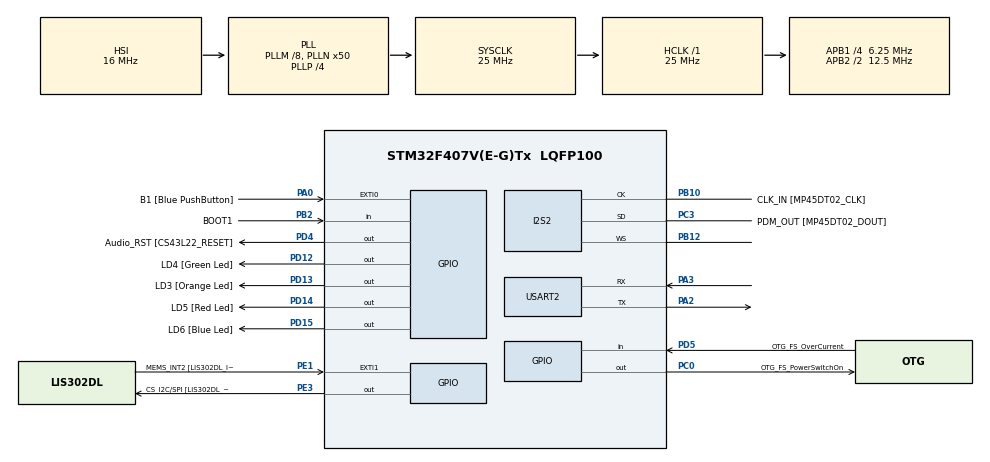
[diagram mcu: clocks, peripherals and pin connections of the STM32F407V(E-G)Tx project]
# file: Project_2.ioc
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I2S2.AudioFreq=I2S_AUDIOFREQ_192K
I2S2.ErrorAudioFreq=0.8 %
I2S2.Mode=I2S_MODE_MASTER_RX
I2S2.RealAudioFreq=193.548 KHz
Mcu.Family=STM32F4
Mcu.Name=STM32F407V(E-G)Tx
Mcu.Package=LQFP100
NVIC.PriorityGroup=NVIC_PRIORITYGROUP_0
PA0-WKUP.GPIO_Label=B1 [Blue PushButton]
PA0-WKUP.Signal=GPXTI0
PA10.GPIO_Label=OTG_FS_ID
PA10.GPIO_Mode=GPIO_MODE_AF_PP
PA10.GPIO_PuPd=GPIO_NOPULL
PA10.GPIO_Speed=GPIO_SPEED_FREQ_LOW
PA10.Signal=USB_OTG_FS_ID
PA11.GPIO_Label=OTG_FS_DM
PA11.GPIO_Mode=GPIO_MODE_AF_PP
PA11.GPIO_PuPd=GPIO_NOPULL
PA11.GPIO_Speed=GPIO_SPEED_FREQ_LOW
PA11.Signal=USB_OTG_FS_DM
PA12.GPIO_Label=OTG_FS_DP
PA12.GPIO_Mode=GPIO_MODE_AF_PP
PA12.GPIO_PuPd=GPIO_NOPULL
PA12.GPIO_Speed=GPIO_SPEED_FREQ_LOW
PA12.Signal=USB_OTG_FS_DP
PA13.GPIO_Label=SWDIO
PA13.Signal=SYS_JTMS-SWDIO
PA14.GPIO_Label=SWCLK
PA14.Signal=SYS_JTCK-SWCLK
PA2.Mode=Asynchronous
PA2.Signal=USART2_TX
PA3.Mode=Asynchronous
PA3.Signal=USART2_RX
PA4.GPIO_Label=I2S3_WS [CS43L22_LRCK]
PA4.GPIO_Mode=GPIO_MODE_AF_PP
PA4.GPIO_PuPd=GPIO_NOPULL
PA4.GPIO_Speed=GPIO_SPEED_FREQ_LOW
PA4.Signal=I2S3_WS
PA5.GPIO_Label=SPI1_SCK [LIS302DL_SCL/SPC]
PA5.GPIO_Mode=GPIO_MODE_AF_PP
PA5.GPIO_PuPd=GPIO_NOPULL
PA5.GPIO_Speed=GPIO_SPEED_FREQ_LOW
PA5.Signal=SPI1_SCK
PA6.GPIO_Label=SPI1_MISO [LIS302DL_SDO]
PA6.GPIO_Mode=GPIO_MODE_AF_PP
PA6.GPIO_PuPd=GPIO_NOPULL
PA6.GPIO_Speed=GPIO_SPEED_FREQ_LOW
PA6.Signal=SPI1_MISO
PA7.GPIO_Label=SPI1_MOSI [LIS302DL_SDA/SDI/SDO]
PA7.GPIO_Mode=GPIO_MODE_AF_PP
PA7.GPIO_PuPd=GPIO_NOPULL
PA7.GPIO_Speed=GPIO_SPEED_FREQ_LOW
PA7.Signal=SPI1_MOSI
PA9.GPIO_Label=VBUS_FS
PA9.GPIO_Mode=GPIO_MODE_INPUT
PA9.GPIO_PuPd=GPIO_NOPULL
PA9.Signal=USB_OTG_FS_VBUS
PB10.GPIO_Label=CLK_IN [MP45DT02_CLK]
PB10.GPIO_Mode=GPIO_MODE_AF_PP
PB10.GPIO_PuPd=GPIO_NOPULL
PB10.GPIO_Speed=GPIO_SPEED_FREQ_LOW
PB10.Mode=Half_Duplex_Master
PB10.Signal=I2S2_CK
PB12.Mode=Half_Duplex_Master
PB12.Signal=I2S2_WS
PB2.GPIO_Label=BOOT1
PB2.GPIO_Mode=GPIO_MODE_INPUT
PB2.GPIO_PuPd=GPIO_NOPULL
PB2.Signal=GPIO_Input
PB3.GPIO_Label=SWO
PB3.Signal=SYS_JTDO-SWO
PB6.GPIO_Label=Audio_SCL [CS43L22_SCL]
PB6.GPIO_Mode=GPIO_MODE_AF_OD
PB6.GPIO_PuPd=GPIO_NOPULL
PB6.GPIO_Speed=GPIO_SPEED_FREQ_LOW
PB6.Signal=I2C1_SCL
PB9.GPIO_Label=Audio_SDA [CS43L22_SDA]
PB9.GPIO_Mode=GPIO_MODE_AF_OD
PB9.GPIO_PuPd=GPIO_NOPULL
PB9.GPIO_Speed=GPIO_SPEED_FREQ_LOW
PB9.Signal=I2C1_SDA
PC0.GPIO_Label=OTG_FS_PowerSwitchOn
PC0.GPIO_PuPd=GPIO_NOPULL
PC0.GPIO_Speed=GPIO_SPEED_FREQ_LOW
PC0.PinState=GPIO_PIN_SET
PC0.Signal=GPIO_Output
PC10.GPIO_Label=I2S3_SCK [CS43L22_SCLK]
PC10.GPIO_Mode=GPIO_MODE_AF_PP
PC10.GPIO_PuPd=GPIO_NOPULL
PC10.GPIO_Speed=GPIO_SPEED_FREQ_LOW
PC10.Signal=I2S3_CK
PC12.GPIO_Label=I2S3_SD [CS43L22_SDIN]
PC12.GPIO_Mode=GPIO_MODE_AF_PP
PC12.GPIO_PuPd=GPIO_NOPULL
PC12.GPIO_Speed=GPIO_SPEED_FREQ_LOW
PC12.Signal=I2S3_SD
PC14-OSC32_IN.GPIO_Label=PC14-OSC32_IN
PC14-OSC32_IN.Signal=RCC_OSC32_IN
PC15-OSC32_OUT.GPIO_Label=PC15-OSC32_OUT
PC15-OSC32_OUT.Signal=RCC_OSC32_OUT
PC3.GPIO_Label=PDM_OUT [MP45DT02_DOUT]
PC3.GPIO_Mode=GPIO_MODE_AF_PP
PC3.GPIO_PuPd=GPIO_NOPULL
PC3.GPIO_Speed=GPIO_SPEED_FREQ_LOW
PC3.Mode=Half_Duplex_Master
PC3.Signal=I2S2_SD
PC7.GPIO_Label=I2S3_MCK [CS43L22_MCLK]
PC7.GPIO_Mode=GPIO_MODE_AF_PP
PC7.GPIO_PuPd=GPIO_NOPULL
PC7.GPIO_Speed=GPIO_SPEED_FREQ_LOW
PC7.Signal=I2S3_MCK
PD12.GPIO_Label=LD4 [Green Led]
PD12.GPIO_PuPd=GPIO_NOPULL
PD12.GPIO_Speed=GPIO_SPEED_FREQ_LOW
PD12.Signal=GPIO_Output
PD13.GPIO_Label=LD3 [Orange Led]
PD13.GPIO_PuPd=GPIO_NOPULL
PD13.GPIO_Speed=GPIO_SPEED_FREQ_LOW
PD13.Signal=GPIO_Output
PD14.GPIO_Label=LD5 [Red Led]
PD14.GPIO_PuPd=GPIO_NOPULL
PD14.GPIO_Speed=GPIO_SPEED_FREQ_LOW
PD14.Signal=GPIO_Output
PD15.GPIO_Label=LD6 [Blue Led]
PD15.GPIO_PuPd=GPIO_NOPULL
PD15.GPIO_Speed=GPIO_SPEED_FREQ_LOW
PD15.Signal=GPIO_Output
PD4.GPIO_Label=Audio_RST [CS43L22_RESET]
PD4.GPIO_PuPd=GPIO_NOPULL
PD4.GPIO_Speed=GPIO_SPEED_FREQ_LOW
PD4.Signal=GPIO_Output
PD5.GPIO_Label=OTG_FS_OverCurrent
PD5.GPIO_Mode=GPIO_MODE_INPUT
PD5.GPIO_PuPd=GPIO_NOPULL
PD5.Signal=GPIO_Input
PE1.GPIO_Label=MEMS_INT2 [LIS302DL_INT2]
PE1.GPIO_ModeDefaultEXTI=GPIO_MODE_EVT_RISING
PE1.GPIO_PuPd=GPIO_NOPULL
PE1.Signal=GPXTI1
PE3.GPIO_Label=CS_I2C/SPI [LIS302DL_CS_I2C/SPI]
PE3.GPIO_PuPd=GPIO_NOPULL
PE3.GPIO_Speed=GPIO_SPEED_FREQ_LOW
PE3.Signal=GPIO_Output
PH0-OSC_IN.GPIO_Label=PH0-OSC_IN
PH0-OSC_IN.Signal=RCC_OSC_IN
PH1-OSC_OUT.GPIO_Label=PH1-OSC_OUT
PH1-OSC_OUT.Signal=RCC_OSC_OUT
ProjectManager.HeapSize=0x200
ProjectManager.StackSize=0x400
ProjectManager.TargetToolchain=SW4STM32
RCC.48MHZClocksFreq_Value=14285714.285714285
RCC.AHBFreq_Value=25000000
RCC.APB1CLKDivider=RCC_HCLK_DIV4
RCC.APB1Freq_Value=6250000
RCC.APB1TimFreq_Value=12500000
RCC.APB2CLKDivider=RCC_HCLK_DIV2
RCC.APB2Freq_Value=12500000
RCC.APB2TimFreq_Value=25000000
RCC.CortexFreq_Value=25000000
RCC.HCLKFreq_Value=25000000
RCC.HSE_VALUE=8000000
RCC.HSI_VALUE=16000000
RCC.LSE_VALUE=32768
RCC.PLLM=8
RCC.PLLN=50
RCC.PLLP=RCC_PLLP_DIV4
RCC.PLLQ=7
RCC.SYSCLKFreq_VALUE=25000000
RCC.SYSCLKSource=RCC_SYSCLKSOURCE_PLLCLK
RCC.VCOOutputFreq_Value=100000000
board=STM32F407G-DISC1

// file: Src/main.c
/**
  ******************************************************************************
  * File Name          : main.c
  * Description        : Main program body
  ******************************************************************************
  *
  * COPYRIGHT(c) 2016 STMicroelectronics
  *
  * Redistribution and use in source and binary forms, with or without modification,
  * are permitted provided that the following conditions are met:
  *   1. Redistributions of source code must retain the above copyright notice,
  *      this list of conditions and the following disclaimer.
  *   2. Redistributions in binary form must reproduce the above copyright notice,
  *      this list of conditions and the following disclaimer in the documentation
  *      and/or other materials provided with the distribution.
  *   3. Neither the name of STMicroelectronics nor the names of its contributors
  *      may be used to endorse or promote products derived from this software
  *      without specific prior written permission.
  *
  * THIS SOFTWARE IS PROVIDED BY THE COPYRIGHT HOLDERS AND CONTRIBUTORS "AS IS"
  * AND ANY EXPRESS OR IMPLIED WARRANTIES, INCLUDING, BUT NOT LIMITED TO, THE
  * IMPLIED WARRANTIES OF MERCHANTABILITY AND FITNESS FOR A PARTICULAR PURPOSE ARE
  * DISCLAIMED. IN NO EVENT SHALL THE COPYRIGHT HOLDER OR CONTRIBUTORS BE LIABLE
  * FOR ANY DIRECT, INDIRECT, INCIDENTAL, SPECIAL, EXEMPLARY, OR CONSEQUENTIAL
  * DAMAGES (INCLUDING, BUT NOT LIMITED TO, PROCUREMENT OF SUBSTITUTE GOODS OR
  * SERVICES; LOSS OF USE, DATA, OR PROFITS; OR BUSINESS INTERRUPTION) HOWEVER
  * CAUSED AND ON ANY THEORY OF LIABILITY, WHETHER IN CONTRACT, STRICT LIABILITY,
  * OR TORT (INCLUDING NEGLIGENCE OR OTHERWISE) ARISING IN ANY WAY OUT OF THE USE
  * OF THIS SOFTWARE, EVEN IF ADVISED OF THE POSSIBILITY OF SUCH DAMAGE.
  *
  ******************************************************************************
  */
#include "main.h"
#include "stm32f4xx_hal.h"

I2S_HandleTypeDef hi2s2;

UART_HandleTypeDef huart2;

/* USER CODE BEGIN PV */
/* Private variables ---------------------------------------------------------*/
   uint16_t buffer[20];
   uint16_t PDM=0;
   uint8_t  PCM=0;
   int i,time;

   float PCM_buffer = 0.0;

   float amp = 0.0;
   float amp_max = 0;
   char amp_max_str[10];
/* USER CODE END PV */

void SystemClock_Config(void);
void Error_Handler(void);
static void MX_GPIO_Init(void);
static void MX_I2S2_Init(void);
static void MX_USART2_UART_Init(void);

/* USER CODE BEGIN PFP */
/* Private function prototypes -----------------------------------------------*/

/* USER CODE END PFP */

/* USER CODE BEGIN 0 */
float myAbs(float x){
	if (x < 0) return -1*x;
	else return x;
}
void calAmp(){
	for(i=0; i<20; i++){
		PCM = -8;
		PDM = buffer[i];
		while ( PDM != 0 ) { /*Count High Bit in Sample Value*/
				PCM ++; PDM ^= PDM & -PDM;
		}
		PCM_buffer += PCM;
		PCM_buffer *= 0.95;
		amp += myAbs(PCM_buffer);
		amp *= 0.95;
	}
}

/* USER CODE END 0 */

int main(void)
{

  /* MCU Configuration----------------------------------------------------------*/

  /* Reset of all peripherals, Initializes the Flash interface and the Systick. */
  HAL_Init();

  /* Configure the system clock */
  SystemClock_Config();

  /* Initialize all configured peripherals */
  MX_GPIO_Init();
  MX_I2S2_Init();
  MX_USART2_UART_Init();

  /* Infinite loop */
  /* USER CODE BEGIN WHILE */
  while (1)
  {
	  /* Read Value From I2S */
	  HAL_I2S_Receive(&hi2s2, buffer, 20, 1000);
	  calAmp();										//calculate PDM TO PCM FIND amp
	  time++;
	  if(amp_max < amp) {
		  amp_max = amp;							// select max amp
	  }
	  if(time % 1024 == 0){
	    gcvt(amp_max,10,amp_max_str);				// double to string(send data through uart)
	    HAL_UART_Transmit(&huart2,amp_max_str,10, 1000);
	    HAL_UART_Transmit(&huart2,"\n\r",2, 1000);
	    amp_max = 0;								// reset max amp
	    time = 0;									// reset time
	  }

  /* USER CODE END WHILE */

  }

}

/** System Clock Configuration
*/
void SystemClock_Config(void)
{

  RCC_OscInitTypeDef RCC_OscInitStruct;
  RCC_ClkInitTypeDef RCC_ClkInitStruct;
  RCC_PeriphCLKInitTypeDef PeriphClkInitStruct;

    /**Configure the main internal regulator output voltage
    */
  __HAL_RCC_PWR_CLK_ENABLE();

  __HAL_PWR_VOLTAGESCALING_CONFIG(PWR_REGULATOR_VOLTAGE_SCALE1);

    /**Initializes the CPU, AHB and APB busses clocks
    */
  RCC_OscInitStruct.OscillatorType = RCC_OSCILLATORTYPE_HSI;
  RCC_OscInitStruct.HSIState = RCC_HSI_ON;
  RCC_OscInitStruct.HSICalibrationValue = 16;
  RCC_OscInitStruct.PLL.PLLState = RCC_PLL_ON;
  RCC_OscInitStruct.PLL.PLLSource = RCC_PLLSOURCE_HSI;
  RCC_OscInitStruct.PLL.PLLM = 8;
  RCC_OscInitStruct.PLL.PLLN = 50;
  RCC_OscInitStruct.PLL.PLLP = RCC_PLLP_DIV4;
  RCC_OscInitStruct.PLL.PLLQ = 7;
  if (HAL_RCC_OscConfig(&RCC_OscInitStruct) != HAL_OK)
  {
    Error_Handler();
  }

    /**Initializes the CPU, AHB and APB busses clocks
    */
  RCC_ClkInitStruct.ClockType = RCC_CLOCKTYPE_HCLK|RCC_CLOCKTYPE_SYSCLK
                              |RCC_CLOCKTYPE_PCLK1|RCC_CLOCKTYPE_PCLK2;
  RCC_ClkInitStruct.SYSCLKSource = RCC_SYSCLKSOURCE_PLLCLK;
  RCC_ClkInitStruct.AHBCLKDivider = RCC_SYSCLK_DIV1;
  RCC_ClkInitStruct.APB1CLKDivider = RCC_HCLK_DIV4;
  RCC_ClkInitStruct.APB2CLKDivider = RCC_HCLK_DIV2;

  if (HAL_RCC_ClockConfig(&RCC_ClkInitStruct, FLASH_LATENCY_0) != HAL_OK)
  {
    Error_Handler();
  }

  PeriphClkInitStruct.PeriphClockSelection = RCC_PERIPHCLK_I2S;
  PeriphClkInitStruct.PLLI2S.PLLI2SN = 192;
  PeriphClkInitStruct.PLLI2S.PLLI2SR = 2;
  if (HAL_RCCEx_PeriphCLKConfig(&PeriphClkInitStruct) != HAL_OK)
  {
    Error_Handler();
  }

    /**Configure the Systick interrupt time
    */
  HAL_SYSTICK_Config(HAL_RCC_GetHCLKFreq()/1000);

    /**Configure the Systick
    */
  HAL_SYSTICK_CLKSourceConfig(SYSTICK_CLKSOURCE_HCLK);

  /* SysTick_IRQn interrupt configuration */
  HAL_NVIC_SetPriority(SysTick_IRQn, 0, 0);
}

/* I2S2 init function */
static void MX_I2S2_Init(void)
{

  hi2s2.Instance = SPI2;
  hi2s2.Init.Mode = I2S_MODE_MASTER_RX;
  hi2s2.Init.Standard = I2S_STANDARD_PHILIPS;
  hi2s2.Init.DataFormat = I2S_DATAFORMAT_16B;
  hi2s2.Init.MCLKOutput = I2S_MCLKOUTPUT_DISABLE;
  hi2s2.Init.AudioFreq = I2S_AUDIOFREQ_192K;
  hi2s2.Init.CPOL = I2S_CPOL_LOW;
  hi2s2.Init.ClockSource = I2S_CLOCK_PLL;
  hi2s2.Init.FullDuplexMode = I2S_FULLDUPLEXMODE_DISABLE;
  if (HAL_I2S_Init(&hi2s2) != HAL_OK)
  {
    Error_Handler();
  }

}

/* USART2 init function */
static void MX_USART2_UART_Init(void)
{

  huart2.Instance = USART2;
  huart2.Init.BaudRate = 115200;
  huart2.Init.WordLength = UART_WORDLENGTH_8B;
  huart2.Init.StopBits = UART_STOPBITS_1;
  huart2.Init.Parity = UART_PARITY_NONE;
  huart2.Init.Mode = UART_MODE_TX_RX;
  huart2.Init.HwFlowCtl = UART_HWCONTROL_NONE;
  huart2.Init.OverSampling = UART_OVERSAMPLING_16;
  if (HAL_UART_Init(&huart2) != HAL_OK)
  {
    Error_Handler();
  }

}

/** Configure pins as
        * Analog
        * Input
        * Output
        * EVENT_OUT
        * EXTI
     PA4   ------> I2S3_WS
     PA5   ------> SPI1_SCK
     PA6   ------> SPI1_MISO
     PA7   ------> SPI1_MOSI
     PC7   ------> I2S3_MCK
     PA9   ------> USB_OTG_FS_VBUS
     PA10   ------> USB_OTG_FS_ID
     PA11   ------> USB_OTG_FS_DM
     PA12   ------> USB_OTG_FS_DP
     PC10   ------> I2S3_CK
     PC12   ------> I2S3_SD
     PB6   ------> I2C1_SCL
     PB9   ------> I2C1_SDA
*/
static void MX_GPIO_Init(void)
{

  GPIO_InitTypeDef GPIO_InitStruct;

  /* GPIO Ports Clock Enable */
  __HAL_RCC_GPIOE_CLK_ENABLE();
  __HAL_RCC_GPIOC_CLK_ENABLE();
  __HAL_RCC_GPIOH_CLK_ENABLE();
  __HAL_RCC_GPIOA_CLK_ENABLE();
  __HAL_RCC_GPIOB_CLK_ENABLE();
  __HAL_RCC_GPIOD_CLK_ENABLE();

  /*Configure GPIO pin Output Level */
  HAL_GPIO_WritePin(CS_I2C_SPI_GPIO_Port, CS_I2C_SPI_Pin, GPIO_PIN_RESET);

  /*Configure GPIO pin Output Level */
  HAL_GPIO_WritePin(OTG_FS_PowerSwitchOn_GPIO_Port, OTG_FS_PowerSwitchOn_Pin, GPIO_PIN_SET);

  /*Configure GPIO pin Output Level */
  HAL_GPIO_WritePin(GPIOD, LD4_Pin|LD3_Pin|LD5_Pin|LD6_Pin
                          |Audio_RST_Pin, GPIO_PIN_RESET);

  /*Configure GPIO pin : CS_I2C_SPI_Pin */
  GPIO_InitStruct.Pin = CS_I2C_SPI_Pin;
  GPIO_InitStruct.Mode = GPIO_MODE_OUTPUT_PP;
  GPIO_InitStruct.Pull = GPIO_NOPULL;
  GPIO_InitStruct.Speed = GPIO_SPEED_FREQ_LOW;
  HAL_GPIO_Init(CS_I2C_SPI_GPIO_Port, &GPIO_InitStruct);

  /*Configure GPIO pin : OTG_FS_PowerSwitchOn_Pin */
  GPIO_InitStruct.Pin = OTG_FS_PowerSwitchOn_Pin;
  GPIO_InitStruct.Mode = GPIO_MODE_OUTPUT_PP;
  GPIO_InitStruct.Pull = GPIO_NOPULL;
  GPIO_InitStruct.Speed = GPIO_SPEED_FREQ_LOW;
  HAL_GPIO_Init(OTG_FS_PowerSwitchOn_GPIO_Port, &GPIO_InitStruct);

  /*Configure GPIO pin : B1_Pin */
  GPIO_InitStruct.Pin = B1_Pin;
  GPIO_InitStruct.Mode = GPIO_MODE_IT_RISING;
  GPIO_InitStruct.Pull = GPIO_NOPULL;
  HAL_GPIO_Init(B1_GPIO_Port, &GPIO_InitStruct);

  /*Configure GPIO pin : I2S3_WS_Pin */
  GPIO_InitStruct.Pin = I2S3_WS_Pin;
  GPIO_InitStruct.Mode = GPIO_MODE_AF_PP;
  GPIO_InitStruct.Pull = GPIO_NOPULL;
  GPIO_InitStruct.Speed = GPIO_SPEED_FREQ_LOW;
  GPIO_InitStruct.Alternate = GPIO_AF6_SPI3;
  HAL_GPIO_Init(I2S3_WS_GPIO_Port, &GPIO_InitStruct);

  /*Configure GPIO pins : SPI1_SCK_Pin SPI1_MISO_Pin SPI1_MOSI_Pin */
  GPIO_InitStruct.Pin = SPI1_SCK_Pin|SPI1_MISO_Pin|SPI1_MOSI_Pin;
  GPIO_InitStruct.Mode = GPIO_MODE_AF_PP;
  GPIO_InitStruct.Pull = GPIO_NOPULL;
  GPIO_InitStruct.Speed = GPIO_SPEED_FREQ_LOW;
  GPIO_InitStruct.Alternate = GPIO_AF5_SPI1;
  HAL_GPIO_Init(GPIOA, &GPIO_InitStruct);

  /*Configure GPIO pin : BOOT1_Pin */
  GPIO_InitStruct.Pin = BOOT1_Pin;
  GPIO_InitStruct.Mode = GPIO_MODE_INPUT;
  GPIO_InitStruct.Pull = GPIO_NOPULL;
  HAL_GPIO_Init(BOOT1_GPIO_Port, &GPIO_InitStruct);

  /*Configure GPIO pins : LD4_Pin LD3_Pin LD5_Pin LD6_Pin
                           Audio_RST_Pin */
  GPIO_InitStruct.Pin = LD4_Pin|LD3_Pin|LD5_Pin|LD6_Pin
                          |Audio_RST_Pin;
  GPIO_InitStruct.Mode = GPIO_MODE_OUTPUT_PP;
  GPIO_InitStruct.Pull = GPIO_NOPULL;
  GPIO_InitStruct.Speed = GPIO_SPEED_FREQ_LOW;
  HAL_GPIO_Init(GPIOD, &GPIO_InitStruct);

  /*Configure GPIO pins : I2S3_MCK_Pin I2S3_SCK_Pin I2S3_SD_Pin */
  GPIO_InitStruct.Pin = I2S3_MCK_Pin|I2S3_SCK_Pin|I2S3_SD_Pin;
  GPIO_InitStruct.Mode = GPIO_MODE_AF_PP;
  GPIO_InitStruct.Pull = GPIO_NOPULL;
  GPIO_InitStruct.Speed = GPIO_SPEED_FREQ_LOW;
  GPIO_InitStruct.Alternate = GPIO_AF6_SPI3;
  HAL_GPIO_Init(GPIOC, &GPIO_InitStruct);

  /*Configure GPIO pin : VBUS_FS_Pin */
  GPIO_InitStruct.Pin = VBUS_FS_Pin;
  GPIO_InitStruct.Mode = GPIO_MODE_INPUT;
  GPIO_InitStruct.Pull = GPIO_NOPULL;
  HAL_GPIO_Init(VBUS_FS_GPIO_Port, &GPIO_InitStruct);

  /*Configure GPIO pins : OTG_FS_ID_Pin OTG_FS_DM_Pin OTG_FS_DP_Pin */
  GPIO_InitStruct.Pin = OTG_FS_ID_Pin|OTG_FS_DM_Pin|OTG_FS_DP_Pin;
  GPIO_InitStruct.Mode = GPIO_MODE_AF_PP;
  GPIO_InitStruct.Pull = GPIO_NOPULL;
  GPIO_InitStruct.Speed = GPIO_SPEED_FREQ_LOW;
  GPIO_InitStruct.Alternate = GPIO_AF10_OTG_FS;
  HAL_GPIO_Init(GPIOA, &GPIO_InitStruct);

  /*Configure GPIO pin : OTG_FS_OverCurrent_Pin */
  GPIO_InitStruct.Pin = OTG_FS_OverCurrent_Pin;
  GPIO_InitStruct.Mode = GPIO_MODE_INPUT;
  GPIO_InitStruct.Pull = GPIO_NOPULL;
  HAL_GPIO_Init(OTG_FS_OverCurrent_GPIO_Port, &GPIO_InitStruct);

  /*Configure GPIO pins : Audio_SCL_Pin Audio_SDA_Pin */
  GPIO_InitStruct.Pin = Audio_SCL_Pin|Audio_SDA_Pin;
  GPIO_InitStruct.Mode = GPIO_MODE_AF_OD;
  GPIO_InitStruct.Pull = GPIO_PULLUP;
  GPIO_InitStruct.Speed = GPIO_SPEED_FREQ_LOW;
  GPIO_InitStruct.Alternate = GPIO_AF4_I2C1;
  HAL_GPIO_Init(GPIOB, &GPIO_InitStruct);

  /*Configure GPIO pin : MEMS_INT2_Pin */
  GPIO_InitStruct.Pin = MEMS_INT2_Pin;
  GPIO_InitStruct.Mode = GPIO_MODE_EVT_RISING;
  GPIO_InitStruct.Pull = GPIO_NOPULL;
  HAL_GPIO_Init(MEMS_INT2_GPIO_Port, &GPIO_InitStruct);

}

void Error_Handler(void)
{
  while(1)
  {
  }
}

/************************ (C) COPYRIGHT STMicroelectronics *****END OF FILE****/
